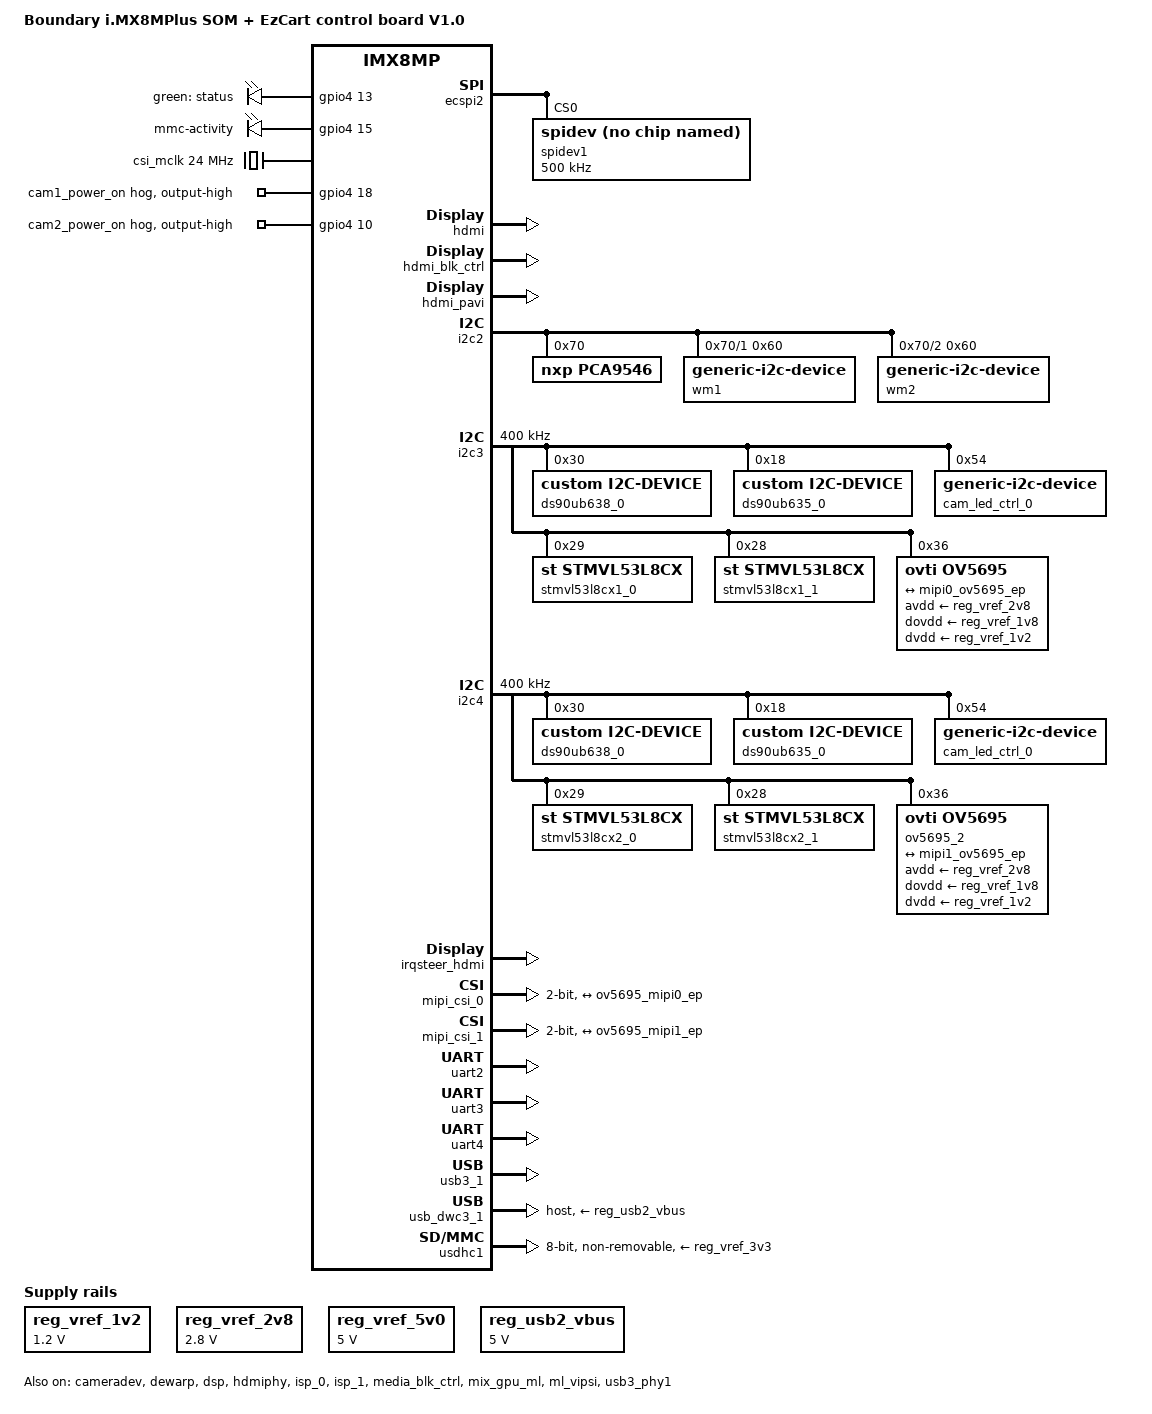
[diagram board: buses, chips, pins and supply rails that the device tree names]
// SPDX-License-Identifier: (GPL-2.0+ OR MIT)
/*
 * Device Tree file for Boundary Devices Nitrogen8MP SOM
 * installed on Cartzy Control Board V2.0 (EzCart V1.0)
 *
 * @author Nikita Bulaev agency@grovety.com
 */

/dts-v1/;

#include <dt-bindings/interconnect/ti,ds90ub635.h>
#include <dt-bindings/interconnect/ti,ds90ub638.h>

#include <dt-bindings/phy/phy-imx8-pcie.h>
#include <dt-bindings/usb/pd.h>
#include "imx8mp-nitrogen8mp-som.dtsi"

&iomuxc {
	pinctrl-names = "default";
	pinctrl-0 = <&pinctrl_hog>;

	pinctrl_gpio_led: gpioledgrp {
		fsl,pins = <
		/* These pins controled by gpio-leds */
		MX8MP_IOMUXC_SAI1_TXD1__GPIO4_IO13    0x140 /* GREEN CPU LED1 */
		MX8MP_IOMUXC_SAI1_TXD3__GPIO4_IO15	  0x140 /* RED CPU LED3 */

		/* These pins controled by gpio-keys */
#define GP_CPU_LED_BLUE	<&gpio4 14 GPIO_ACTIVE_HIGH>
		MX8MP_IOMUXC_SAI1_TXD2__GPIO4_IO14	  0x100 /* Blue CPU LED2 */
		>;
	};

	pinctrl_ecspi2: ecspi2grp {
		fsl,pins = <
			/* J31 */
			MX8MP_IOMUXC_ECSPI2_SCLK__ECSPI2_SCLK		0x82	/* Pin 20 */
			MX8MP_IOMUXC_ECSPI2_MOSI__ECSPI2_MOSI		0x82	/* Pin 10 */
			MX8MP_IOMUXC_ECSPI2_MISO__ECSPI2_MISO		0x82	/* Pin 8 */
#define GP_ECSPI2_CS	<&gpio5 13 GPIO_ACTIVE_LOW>
			MX8MP_IOMUXC_ECSPI2_SS0__GPIO5_IO13		0x143	/* Pin 6 */
		>;
	};

	pinctrl_hog: hoggrp {
		fsl,pins = <
			MX8MP_IOMUXC_HDMI_DDC_SCL__HDMIMIX_HDMI_SCL	0x400001c3
			MX8MP_IOMUXC_HDMI_DDC_SDA__HDMIMIX_HDMI_SDA	0x400001c3
			MX8MP_IOMUXC_HDMI_HPD__HDMIMIX_HDMI_HPD		0x40000019
			MX8MP_IOMUXC_HDMI_CEC__HDMIMIX_HDMI_CEC		0x40000019
			MX8MP_IOMUXC_NAND_DATA01__GPIO3_IO07		0x119
			/* J31 */
			MX8MP_IOMUXC_SPDIF_RX__GPIO5_IO04		0x41	/* Pin 17 */
			MX8MP_IOMUXC_SPDIF_EXT_CLK__GPIO5_IO05	0x41	/* Pin 19 */
			MX8MP_IOMUXC_SPDIF_TX__GPIO5_IO03		0x41	/* Pin 21 */
			MX8MP_IOMUXC_SAI1_MCLK__GPIO4_IO20		0x16	/* Pin 2 */
			/*MX8MP_IOMUXC_SAI1_TXD7__GPIO4_IO19		0x1c4*/	/* Pin 4 */

#define WM_RESET_CTRL	<&gpio4 16 GPIO_ACTIVE_HIGH>
			MX8MP_IOMUXC_SAI1_TXD4__GPIO4_IO16	0x100

#define CAM1_POWER_ON	<&gpio4 18 GPIO_ACTIVE_HIGH>
			MX8MP_IOMUXC_SAI1_TXD6__GPIO4_IO18	0x106

#define CAM2_POWER_ON	<&gpio4 10 GPIO_ACTIVE_HIGH>
			MX8MP_IOMUXC_SAI1_TXFS__GPIO4_IO10	0x106
		>;
	};

/*	pinctrl_i2c2_pca9546: i2c2-pca9546grp {
		fsl,pins = <
#define GP_PCA9546_RESET	<&gpio1 5 GPIO_ACTIVE_LOW>
			MX8MP_IOMUXC_GPIO1_IO05__GPIO1_IO05        	0x100
		>;
	};*/

/*	pinctrl_i2c2d_rv3028: i2c2d-rv3028grp {
		fsl,pins = <
#define GPIRQ_RV3028		<&gpio1 4 IRQ_TYPE_LEVEL_LOW>
			MX8MP_IOMUXC_GPIO1_IO04__GPIO1_IO04		0x1c0
		>;
	};*/

	pinctrl_pdm: pdmgrp {
		fsl,pins = <
			MX8MP_IOMUXC_SAI1_RXC__AUDIOMIX_PDM_CLK			0xd6
			MX8MP_IOMUXC_SAI3_RXFS__AUDIOMIX_PDM_BIT_STREAM00	0xd6
		>;
	};

	pinctrl_pwm4: pwm4grp {
		fsl,pins = <
			/* J31, pin 36 */
			MX8MP_IOMUXC_SAI5_RXFS__PWM4_OUT	0x116
		>;
	};

	pinctrl_usb2: usb2-pins {
		fsl,pins = <
		/* Output, PullUP */
#define USB2_PWR_EN	<&gpio1 9 GPIO_ACTIVE_HIGH> /* USB2_PWR_EN */
			MX8MP_IOMUXC_GPIO1_IO09__GPIO1_IO09	0x106

		/* Input, PULLED UP by resitor, trigger on falling */
#define USB2_FAULT	<&gpio4 19 IRQ_TYPE_LEVEL_LOW> /* USB2_FAULT (input) */
		MX8MP_IOMUXC_SAI1_TXD7__GPIO4_IO19 0x006
		>;
	};

	pinctrl_uart2: uart2grp {
		fsl,pins = <
			MX8MP_IOMUXC_UART2_RXD__UART2_DCE_RX	0x140
			MX8MP_IOMUXC_UART2_TXD__UART2_DCE_TX	0x140
		>;
	};

	pinctrl_uart3: uart3grp {
		fsl,pins = <
			MX8MP_IOMUXC_ECSPI1_SCLK__UART3_DCE_RX	0x140
			MX8MP_IOMUXC_ECSPI1_MOSI__UART3_DCE_TX	0x140
		>;
	};

	pinctrl_uart4: uart4grp {
		fsl,pins = <
			MX8MP_IOMUXC_UART4_RXD__UART4_DCE_RX	0x140
			MX8MP_IOMUXC_UART4_TXD__UART4_DCE_TX	0x140
		>;
	};

	pinctrl_usdhc1: usdhc1grp {
		fsl,pins = <
		MX8MP_IOMUXC_SD1_CLK__USDHC1_CLK    0x190
		MX8MP_IOMUXC_SD1_CMD__USDHC1_CMD    0x1d0
		MX8MP_IOMUXC_SD1_DATA0__USDHC1_DATA0    0x1d0
		MX8MP_IOMUXC_SD1_DATA1__USDHC1_DATA1    0x1d0
		MX8MP_IOMUXC_SD1_DATA2__USDHC1_DATA2    0x1d0
		MX8MP_IOMUXC_SD1_DATA3__USDHC1_DATA3    0x1d0
		MX8MP_IOMUXC_SD1_DATA4__USDHC1_DATA4    0x1d0
		MX8MP_IOMUXC_SD1_DATA5__USDHC1_DATA5    0x1d0
		MX8MP_IOMUXC_SD1_DATA6__USDHC1_DATA6    0x1d0
		MX8MP_IOMUXC_SD1_DATA7__USDHC1_DATA7    0x1d0
		/*MX8MP_IOMUXC_GPIO1_IO03__USDHC1_VSELECT    0x116*/
		MX8MP_IOMUXC_SD1_STROBE__USDHC1_STROBE    0x10
		MX8MP_IOMUXC_SD1_RESET_B__USDHC1_RESET_B 0x140
		>;
	};

	pinctrl_usdhc1_100mhz: usdhc1grp-100mhz {
		fsl,pins = <
		MX8MP_IOMUXC_SD1_CLK__USDHC1_CLK    0x194
		MX8MP_IOMUXC_SD1_CMD__USDHC1_CMD    0x1d4
		MX8MP_IOMUXC_SD1_DATA0__USDHC1_DATA0    0x1d4
		MX8MP_IOMUXC_SD1_DATA1__USDHC1_DATA1    0x1d4
		MX8MP_IOMUXC_SD1_DATA2__USDHC1_DATA2    0x1d4
		MX8MP_IOMUXC_SD1_DATA3__USDHC1_DATA3    0x1d4
		MX8MP_IOMUXC_SD1_DATA4__USDHC1_DATA4    0x1d4
		MX8MP_IOMUXC_SD1_DATA5__USDHC1_DATA5    0x1d4
		MX8MP_IOMUXC_SD1_DATA6__USDHC1_DATA6    0x1d4
		MX8MP_IOMUXC_SD1_DATA7__USDHC1_DATA7    0x1d4
		MX8MP_IOMUXC_SD1_STROBE__USDHC1_STROBE  0x14
		>;
	};

	pinctrl_usdhc1_200mhz: usdhc1grp-200mhz {
		fsl,pins = <
		MX8MP_IOMUXC_SD1_CLK__USDHC1_CLK    0x196
		MX8MP_IOMUXC_SD1_CMD__USDHC1_CMD    0x1d6
		MX8MP_IOMUXC_SD1_DATA0__USDHC1_DATA0    0x1d6
		MX8MP_IOMUXC_SD1_DATA1__USDHC1_DATA1    0x1d6
		MX8MP_IOMUXC_SD1_DATA2__USDHC1_DATA2    0x1d6
		MX8MP_IOMUXC_SD1_DATA3__USDHC1_DATA3    0x1d6
		MX8MP_IOMUXC_SD1_DATA4__USDHC1_DATA4    0x1d6
		MX8MP_IOMUXC_SD1_DATA5__USDHC1_DATA5    0x1d6
		MX8MP_IOMUXC_SD1_DATA6__USDHC1_DATA6    0x1d6
		MX8MP_IOMUXC_SD1_DATA7__USDHC1_DATA7    0x1d6
		MX8MP_IOMUXC_SD1_STROBE__USDHC1_STROBE  0x12
		>;
	};

	/* NO GPIO pins for camera #1 */
	/*pinctrl_i2c3_ov5695_mipi: i2c3-ov5695-mipigrp {
		fsl,pins = <

		>;
	};*/

	/* No GPIO pins for camera #2 */
	/*pinctrl_i2c4_ov5695_mipi: i2c4-ov5695-mipigrp {
		fsl,pins = <

		>;
	};	*/

	pinctrl_ds90ub638_1: ds90ub638_grp_1 {
		fsl,pins = <
#define DS90UB638_1_LOCK    <&gpio1 15 IRQ_TYPE_LEVEL_HIGH>
		MX8MP_IOMUXC_GPIO1_IO15__GPIO1_IO15    0x106

#define DS90UB638_1_PASS    <&gpio1 11 IRQ_TYPE_LEVEL_HIGH>
		MX8MP_IOMUXC_GPIO1_IO11__GPIO1_IO11    0x106
		>;
	};

	pinctrl_ds90ub638_2: ds90ub638_grp_2 {
		fsl,pins = <
#define DS90UB638_2_LOCK    <&gpio1 1 IRQ_TYPE_LEVEL_HIGH>
		MX8MP_IOMUXC_GPIO1_IO01__GPIO1_IO01    0x106

#define DS90UB638_2_PASS    <&gpio1 12 IRQ_TYPE_LEVEL_HIGH>
		MX8MP_IOMUXC_GPIO1_IO12__GPIO1_IO12    0x106
		>;
	};

	pinctrl_i2c3_tof: i2c3_tofgrp {
		fsl,pins = <
		/* TOF 1/2 INT - Input, trigger on falling GPIO0 */
#define GP_TOF_INT1_2	<&gpio1 4 IRQ_TYPE_LEVEL_LOW>
		MX8MP_IOMUXC_GPIO1_IO04__GPIO1_IO04	0x166

		/* TOF 1 SYNC GPIO1 */
#define GP_TOF_SYNC1	<&gpio1 10 GPIO_ACTIVE_HIGH>
		MX8MP_IOMUXC_GPIO1_IO10__GPIO1_IO10	0x116

		/* TOF 1 RESET GPIO2 */
#define GP_TOF_RESET1  <&gpio1 13 GPIO_ACTIVE_HIGH>
		MX8MP_IOMUXC_GPIO1_IO13__GPIO1_IO13	0x106
		>;
	};

	pinctrl_i2c4_tof: i2c4_tofgrp {
		fsl,pins = <
		/* TOF 3/4 INT - Input, trigger on falling GPIO0 */
#define GP_TOF_INT3_4	<&gpio1 5 IRQ_TYPE_LEVEL_LOW>
		MX8MP_IOMUXC_GPIO1_IO05__GPIO1_IO05	0x166

		/* TOF 3 SYNC GPIO1 */
#define GP_TOF_SYNC3	<&gpio1 6 GPIO_ACTIVE_HIGH>
		MX8MP_IOMUXC_GPIO1_IO06__GPIO1_IO06	0x116

		/* TOF 3 RESET GPIO2 */
#define GP_TOF_RESET3	<&gpio1 8 GPIO_ACTIVE_HIGH>
		MX8MP_IOMUXC_GPIO1_IO08__GPIO1_IO08	0x106
		>;
	};

	/* GPIOS P2 header */
	pinctrl_gpios_p2: gpios_p2grp {
		/* All pins are set to OUTPUT Pull-Down */
		fsl,pins = <
#define GPIOS_P2_PIN1 <&gpio4 27 GPIO_ACTIVE_HIGH>
		MX8MP_IOMUXC_SAI2_MCLK__GPIO4_IO27 0x106

#define GPIOS_P2_PIN2 <&gpio4 22 GPIO_ACTIVE_HIGH>
		MX8MP_IOMUXC_SAI2_RXC__GPIO4_IO22 0x106

#define GPIOS_P2_PIN3 <&gpio4 23 GPIO_ACTIVE_HIGH>
		MX8MP_IOMUXC_SAI2_RXD0__GPIO4_IO23 0x106

#define GPIOS_P2_PIN4 <&gpio4 26 GPIO_ACTIVE_HIGH>
		MX8MP_IOMUXC_SAI2_TXD0__GPIO4_IO26 0x106

#define GPIOS_P2_PIN5 <&gpio4 25 GPIO_ACTIVE_HIGH>
		MX8MP_IOMUXC_SAI2_TXC__GPIO4_IO25 0x106

#define GPIOS_P2_PIN6 <&gpio4 21 GPIO_ACTIVE_HIGH>
		MX8MP_IOMUXC_SAI2_RXFS__GPIO4_IO21 0x106

#define GPIOS_P2_PIN7 <&gpio4 28 GPIO_ACTIVE_HIGH>
		MX8MP_IOMUXC_SAI3_RXFS__GPIO4_IO28 0x106

#define GPIOS_P2_PIN8 <&gpio4 24 GPIO_ACTIVE_HIGH>
		MX8MP_IOMUXC_SAI2_TXFS__GPIO4_IO24 0x106
		>;
	};
};

&pinctrl_i2c3_tof {
	/* TOF 2 SYNC GPIO3 */
	tof_sync2_open_drain: tof_sync2_open_drain {
		fsl,pins = <
#define GP_TOF_SYNC2    <&gpio1 7 (GPIO_ACTIVE_HIGH | GPIO_OPEN_DRAIN)>
		MX8MP_IOMUXC_GPIO1_IO07__GPIO1_IO07    0x030 /* OpenDrain output */
		>;
        drive-open-source; /* Also force open source */
    };
};

&pinctrl_i2c4_tof {
	/* TOF 4 SYNC GPIO3 */
	tof_sync4_open_drain: tof_sync4_open_drain {
		fsl,pins = <
#define GP_TOF_SYNC4    <&gpio1 14 (GPIO_ACTIVE_HIGH | GPIO_OPEN_DRAIN)>
		MX8MP_IOMUXC_GPIO1_IO14__GPIO1_IO14    0x030 /* OpenDrain output */
		>;
		drive-open-source; /* Also force open source */
	};
};

/ {
	model = "Boundary i.MX8MPlus SOM + EzCart control board V1.0";
	compatible = "fsl,imx8mp-custom-board", "boundary,imx8mp-nitrogen8mp", "fsl,imx8mp";

	aliases {
		// fb_hdmi = &lcdif3;
		// lcdif = &lcdif1;
		// fb_mipi = &fb_mipi;
		// ts_ft5x06 = &ts_ft5x06;
	};

	chosen {
		stdout-path = &uart2;
	};

	gpio-leds {
		compatible = "gpio-leds";
		pinctrl-names = "default";
		pinctrl-0 = <&pinctrl_gpio_led>;

		status {
			label = "green: status";
			gpios = <&gpio4 13 GPIO_ACTIVE_HIGH>;
			default-state = "on";
			linux,default-trigger = "heartbeat";
		};

		activity_led {
			label = "mmc-activity";
			gpios = <&gpio4 15 GPIO_ACTIVE_HIGH>;
			linux,default-trigger = "mmc2";
		};
	};

	gpio_keys: gpio-keys {
		compatible = "gpio-keys";
		pinctrl-names = "default";
	};

	sound_hdmi: sound-hdmi {
		compatible = "fsl,imx-audio-hdmi";
		model = "audio-hdmi";
		audio-cpu = <&aud2htx>;
		hdmi-out;
		constraint-rate = <44100>,
				<88200>,
				<176400>,
				<32000>,
				<48000>,
				<96000>,
				<192000>;
		status = "disabled";
	};

	sound-wm8960 {
		status = "disabled";
	};

	csi_mclk: csi-mclk {
		compatible = "fixed-clock";
		#clock-cells = <0>;
		clock-frequency = <24000000>;
		clock-output-names = "csi_mclk";
		status = "okay";
	};

	reg_vref_1v2: regulator-vref-1v2 {
		compatible = "regulator-fixed";
		regulator-name = "vref-1v2";
		regulator-min-microvolt = <1200000>;
		regulator-max-microvolt = <1200000>;
	};

	reg_vref_2v8: regulator-vref-2v8 {
		compatible = "regulator-fixed";
		regulator-name = "vref-2v8";
		regulator-min-microvolt = <2800000>;
		regulator-max-microvolt = <2800000>;
	};

	reg_vref_5v0: regulator-vref-5v0 {
		compatible = "regulator-fixed";
		regulator-name = "vref-5v0";
		regulator-min-microvolt = <5000000>;
		regulator-max-microvolt = <5000000>;
	};

	reg_usb2_vbus: regulator-usb2-vbus {
		compatible = "regulator-fixed";
		regulator-name = "usb2_vbus";
		regulator-min-microvolt = <5000000>;
		regulator-max-microvolt = <5000000>;
		gpio = USB2_PWR_EN;
		enable-active-high;
	};

	// reg_disp_bridge: reg_disp_bridge {
	// 	#address-cells = <1>;
	// 	#size-cells = <0>;

	// 	compatible = "regulator-fixed";
	// 	regulator-name = "bridge_reg";
	// 	gpio = <&reg_display 0 0>;
	// 	vin-supply = <&reg_display>;
	// 	enable-active-high;
	// };
};

&aud2htx {
	status = "disabled";
};

&cameradev {
	status = "okay";
};

&isi_0 {
	status = "disabled";

	m2m_device {
		status = "disabled";
	};
};

&isi_1 {
	status = "disabled";
};

&dewarp {
	status = "okay";
};

&dsp {
	status = "okay";
};

&easrc {
	status = "disabled";
};

&ecspi2 {
	#address-cells = <1>;
	#size-cells = <0>;
	fsl,spi-num-chipselects = <1>;
	pinctrl-names = "default";
	pinctrl-0 = <&pinctrl_ecspi2>;
	cs-gpios = GP_ECSPI2_CS;
	status = "okay";

	spidev1: spi@0 {
		compatible = "spidev";
		reg = <0>;
		spi-max-frequency = <500000>;
	};
};

&fec {
	status = "disabled";
};

&eqos {
	status = "disabled";
};

&flexcan1 {
	status = "disabled";
};

&flexcan2 {
	status = "disabled";
};

&hdmi {
	status = "okay";
};

&hdmiphy {
	status = "okay";
};

&hdmi_blk_ctrl {
	status = "okay";
};

&hdmi_pavi {
	status = "okay";
};

&gpio1 {
	gpio-line-names = "",            "CAM2.LOCK",   "WDOG",       "",           /* 0-3 */
					  "TOF.1-2.INT", "TOF.3-4.INT", "TOF.3.SYNC", "TOF.2.SYNC", /* 4-7 */
					  "TOF.3.RES",   "USB2.PWR.EN", "TOF.1.SYNC", "CAM1.PASS",  /* 8-11 */
					  "CAM2.PASS",   "TOF.1.RES",   "TOF.4.SYNC", "CAM1.LOCK",  /* 12-15 */
					  "",            "",            "",           "",           /* 16-19 */
					  "",            "",            "",           "",           /* 20-23 */
					  "",            "",            "",           "",           /* 24-27 */
					  "",            "",            "",           "",           /* 28-31 */
					  "",            "",            "",           "";           /* 32-35 */
};

&gpio3 {
	gpio-line-names = "",         "",         "",             "",             /* 0-3 */
					  "",         "",         "",             "",             /* 4-7 */
					  "",         "",         "",             "",             /* 8-11 */
					  "",         "",         "",             "",             /* 12-15 */
					  "",         "",         "",             "",             /* 16-19 */
					  "",         "",         "",             "",             /* 20-23 */
					  "",         "",         "HDMI.DDC.SCL", "HDMI.DDC.SDA", /* 24-27 */
					  "HDMI.CEC", "HDMI.HPD", "",             "",             /* 28-31 */
					  "",         "",         "",             "";             /* 32-35 */
};

&gpio4 {
	gpio-line-names = "",          "",              "",             "",            /* 0-3 */
					  "",          "",              "",             "",            /* 4-7 */
					  "",          "",              "CAM2.PWR.ON",  "",            /* 8-11 */
					  "BAT.RESET", "CPU.LED.GREEN", "CPU.LED.BLUE", "CPU.LED.RED", /* 12-15 */
					  "WM.RESET",  "WM.INT",        "CAM1.PWR.ON",  "USB2.FAULT",  /* 16-19 */
					  "",          "P2.PIN6",       "P2.PIN2",      "P2.PIN3",     /* 20-23 */
					  "P2.PIN8",   "P2.PIN5",       "P2.PIN4",      "P2.PIN1",     /* 24-27 */
					  "P2.PIN7",   "",              "",             "",            /* 28-31 */
					  "",          "",              "",             "";            /* 32-35 */

	cam1_power_on {
		gpio-hog;
		gpios = <18 GPIO_ACTIVE_HIGH>;
		output-high;
		line-name = "cam1_power_on";
	};

	cam2_power_on {
		gpio-hog;
		gpios = <10 GPIO_ACTIVE_HIGH>;
		output-high;
		line-name = "cam2_power_on";
	};
};

&gpio5 {
	gpio-line-names = "",          "",         "",          "",          /* 0-3 */
					  "",          "",         "UART3.RX",  "UART3.TX",  /* 4-7 */
					  "",          "",         "SPI2.SCLK", "SPI2.MOSI", /* 8-11 */
					  "SPI2.MISO", "SPI2.CS0", "I2C1.SCL",  "I2C1.SDA",  /* 12-15 */
					  "I2C2.SCL",  "I2C2.SDA", "I2C3.SCL",  "I2C3.SDA",  /* 16-19 */
					  "I2C4.SCL",  "I2C4.SDA", "",          "",          /* 20-23 */
					  "UART2.RX",  "UART2.TX", "",          "",          /* 24-27 */
					  "UART4.RX",  "UART4.TX", "",          "",          /* 28-31 */
					  "",          "",         "",          "";          /* 32-35 */
};

&i2c2 {
	pca9546: i2cmux9546@70 {
		// pinctrl-names = "default";
		// pinctrl-0 = <&pinctrl_i2c2_pca9546>;
		compatible = "nxp,pca9546";
		reg = <0x70>;
		// reset-gpios = GP_PCA9546_RESET;
		#address-cells = <1>;
		#size-cells = <0>;

		i2c2a: i2c2@0 {
			clock-frequency = <100000>;
			reg = <0>;
			#address-cells = <1>;
			#size-cells = <0>;

			/* Battery module I2C */
		};

		i2c2b: i2c2@1 {
			clock-frequency = <100000>;
			reg = <1>;
			#address-cells = <1>;
			#size-cells = <0>;

			/* Weight module #1 I2C  */
			wm1@60 {
				compatible = "generic-i2c-device";
				reg = <0x60>;
			};
		};

		i2c2c: i2c2@2 {
			clock-frequency = <100000>;
			reg = <2>;
			#address-cells = <1>;
			#size-cells = <0>;

			/* Weight module #2 I2C  */
			wm2@60 {
				compatible = "generic-i2c-device";
				reg = <0x60>;
			};
		};

		i2c2d: i2c2@3 {
			clock-frequency = <100000>;
			reg = <3>;
			#address-cells = <1>;
			#size-cells = <0>;
		};
	};
};

&i2c2a {
	status = "disabled";
};

&i2c2b {
	status = "okay";
};

&i2c2c {
	status = "okay";
};

&i2c2d {
	status = "okay";
};

&i2c3 {
	status = "okay";
	clock-frequency = <400000>;
	pinctrl-names = "default";

	/* DS90UB638 deserializer */
	ds90ub638_0@30 {
		compatible = "custom,i2c-device";
		reg = <0x30>;
		#address-cells = <1>;
		#size-cells = <0>;

		pinctrl-0 = <&pinctrl_ds90ub638_1>;

		init-regs {
			reg@0 {
				address = <TI_DS90UB638_RX_PORT_CTL_REG>;
				mask = <TI_DS90UB638_RX_PORT_CTL_STARTUP_BIT_MASK>;
				value = <TI_DS90UB638_RX_PORT_CTL_STARTUP_BIT_SET>;
				operation = "setbits";
			};
			reg@1 {
				address = <TI_DS90UB638_FWD_CTL2_REG>;
				mask = <TI_DS90UB638_FWD_CTL2_FWD_SYNC_AS_AVAIL_MASK>;
				value = <TI_DS90UB638_FWD_CTL2_FWD_SYNC_AS_AVAIL>;
				operation = "setbits";
			};
			reg@2 {
				address = <TI_DS90UB638_GENERAL_CFG_REG>;
				value = <(TI_DS90UB638_GENERAL_CFG_I2C_CONTROLLER_ENABLE |
				TI_DS90UB638_GENERAL_CFG_OUTPUT_EN_MODE |
				TI_DS90UB638_GENERAL_CFG_OUTPUT_ENABLE |
				TI_DS90UB638_GENERAL_CFG_OUTPUT_SLEEP_STATE_SELECT |
				TI_DS90UB638_GENERAL_CFG_RX_PARITY_CHECKER_ENABLE)>;
				operation = "overwrite";
			};
			reg@3 {
				address = <TI_DS90UB638_FPD3_PORT_SEL_REG>;
				value = <TI_DS90UB638_FPD3_PORT_SEL_RX_WRITE_PORT_0_EN>;
				operation = "overwrite";
			};
			reg@4 {
				address = <TI_DS90UB638_BCC_CONFIG_REG>;
				value = <(TI_DS90UB638_BCC_CONFIG_I2C_PASS_THROUGH_ALL_EN |
				TI_DS90UB638_BCC_CONFIG_BC_ALWAYS_ON_EN |
				TI_DS90UB638_BCC_CONFIG_BC_CRC_GENERATOR_ENABLE_EN|
				TI_DS90UB638_BCC_CONFIG_BC_FREQ_SELECT_50MBPS)>;
				operation = "overwrite";
			};
			reg@5 {
				address = <TI_DS90UB638_FWD_CTL1_REG>;
				mask = <TI_DS90UB638_FWD_CTL1_FWD_PORT0_MASK>;
				value = <TI_DS90UB638_FWD_CTL1_FWD_PORT0_EN>;
				operation = "setbits";
			};
			reg@6 {
				// Turn on GPIOs transfer
				address = <TI_DS90UB638_DATAPATH_CTL1_REG>;
				value = <TI_DS90UB638_DATAPATH_CTL1_FC_GPIO_EN_FOUR>;
				operation = "overwrite";
			};
			reg@7 {
				// GPIO1/2/3 - Inputs, this reg must me set first
				address = <TI_DS90UB638_GPIO_INPUT_CTL_REG>;
				value = <(TI_DS90UB638_GPIO_INPUT_CTL_GPIO1_EN |
				TI_DS90UB638_GPIO_INPUT_CTL_GPIO2_EN |
				TI_DS90UB638_GPIO_INPUT_CTL_GPIO3_EN)>;
				operation = "overwrite";
			};
			reg@8 {
				// GPIO0 - Output (ToF INTR)
				address = <TI_DS90UB638_GPIO0_PIN_CTL_REG>;
				value = <TI_DS90UB638_GPIOx_PIN_CTL_OUT_EN>;
				operation = "overwrite";
			};
			reg@10 {
				// GPIO1 - Input (ToF1/2 SYNC)
				address = <TI_DS90UB638_GPIO1_PIN_CTL_REG>;
				value = <TI_DS90UB638_GPIOx_PIN_CTL_OUT_DISABLE>;
				operation = "overwrite";
			};
			reg@11 {
				// GPIO2 - Input (ToF/Camera RESET)
				address = <TI_DS90UB638_GPIO2_PIN_CTL_REG>;
				value = <TI_DS90UB638_GPIOx_PIN_CTL_OUT_DISABLE>;
				operation = "overwrite";
			};
			reg@12 {
				// GPIO3 - Input (ToF3/4 SYNC)
				address = <TI_DS90UB638_GPIO3_PIN_CTL_REG>;
				value = <TI_DS90UB638_GPIOx_PIN_CTL_OUT_DISABLE>;
				operation = "overwrite";
			};
			reg@13 {
				// GPIO1 - data sent on GPIO1 for the port back channel. GPIO0 - DOWN
				address = <TI_DS90UB638_BC_GPIO_CTL0_REG>;
				value = <(TI_DS90UB638_BC_GPIO_GPIO1_SEL_GPIO1 | TI_DS90UB638_BC_GPIO_GPIO0_SEL_VAL0)>;
				operation = "overwrite";
			};
			reg@14 {
				// GPIO3 - data sent on GPIO3 for the port back channel, GPIO2 DOWN.
				address = <TI_DS90UB638_BC_GPIO_CTL1_REG>;
				value = <(TI_DS90UB638_BC_GPIO_GPIO3_SEL_GPIO3 | TI_DS90UB638_BC_GPIO_GPIO2_SEL_VAL0)>;
				operation = "overwrite";
			};
			reg@15 {
				// Turn on CSI and setup 2-lanes
				address = <TI_DS90UB638_CSI_CTL_REG>;
				value = <(TI_DS90UB638_CSI_CTL_CSI_LANE_COUNT_2 | TI_DS90UB638_CSI_CTL_CSI_EN)>;
				operation = "overwrite";
			};
		};
	};

	/* DS90UB635 serializer */
	ds90ub635_0@18 {
		compatible = "custom,i2c-device";
		reg = <0x18>;
		#address-cells = <1>;
		#size-cells = <0>;

		// Wait for ready flag from deserializer
		ready-flag-wait = "/sys/bus/i2c/devices/2-0030/ready_flag";

		init-regs {
			reg@0 {
				address = <TI_DS90UB635_GENERAL_CFG_REG>;
				value = <(TI_DS90UB635_GENERAL_CFG_CSI_SEL_2_LANE |
				TI_DS90UB635_GENERAL_CFG_CRC_TX_GEN_ENABLE |
				TI_DS90UB635_GENERAL_CFG_I2C_STRAP_MODE_1V8)>;
				operation = "overwrite";
			};
			reg@1 {
				// GPIO0 - Inputs (ToFs INTR), GPIO1/2/3 - Output (ToF1 SYNC, ToF/Camera RESET, ToF2 SYNC)
				address = <TI_DS90UB635_GPIO_INPUT_CTRL_REG>;
				value = <(TI_DS90UB635_GPIO_INPUT_CTRL_GPIO0_IN_EN |
				TI_DS90UB635_GPIO_INPUT_CTRL_GPIO1_OUT_EN |
				TI_DS90UB635_GPIO_INPUT_CTRL_GPIO2_OUT_EN |
				TI_DS90UB635_GPIO_INPUT_CTRL_GPIO3_OUT_EN)>;
				operation = "overwrite";
			};
			reg@2 {
				// Turn on GPIOs transfer
				address = <TI_DS90UB635_DATAPATH_CTL1_REG>;
				value = <(TI_DS90UB635_DATAPATH_CTL1_DCA_CRC_EN | TI_DS90UB635_DATAPATH_CTL1_FC_GPIO_EN_ONE)>;
				operation = "overwrite";
			};
		};
	};

	/* Camera led control */
	cam_led_ctrl_0@54 {
		compatible = "generic-i2c-device";
		reg = <0x54>;
	};

	/* Tof sensor #1 */
	stmvl53l8cx1_0: stmvl53l8cx_0@29 {
		compatible = "st,stmvl53l8cx";
		reg = <0x29>;
		dev-name = "stmvl53l8cx_1";
		pinctrl-0 = <&pinctrl_i2c3_tof>;
		sync-gpios = GP_TOF_SYNC1;
		sync-drive = "push-pull";
		status = "okay";
	};

	/* Tof sensor #2 */
	stmvl53l8cx1_1: stmvl53l8cx_1@28 {
		compatible = "st,stmvl53l8cx";
		reg = <0x28>;
		dev-name = "stmvl53l8cx_2";
		pinctrl-0 = <&pinctrl_i2c3_tof>;
		sync-gpios = GP_TOF_SYNC2;
		sync-drive = "open-drain";
		status = "okay";
	};

	ov5695: ov5695_mipi0@36 {
		avdd-supply = <&reg_vref_2v8>;
		dovdd-supply = <&reg_vref_1v8>;
		dvdd-supply = <&reg_vref_1v2>;
		clocks = <&csi_mclk>;
		clock-names = "xvclk";
		compatible = "ovti,ov5695", "ov5695";
		/*pinctrl-names = "default";*/
		/*pinctrl-0 = <&pinctrl_i2c3_ov5695_mipi>;*/ // No GPIO pins for camera
		reg = <0x36>;
		csi_id = <0>;
		/*reset-gpios = GP_OV5695_MIPI0_RESET;*/ // Used for ToF I2C block
		status = "okay";

		port {
			ov5695_mipi0_ep: endpoint {
				clock-lanes = <0>;
				data-lanes = <1 2>;
				remote-endpoint = <&mipi0_ov5695_ep>;
				link-frequencies = /bits/ 64 <800000000>;

				max-lane-frequency = /bits/ 64 <800000000>;
				max-pixel-frequency = /bits/ 64 <266000000>;
			};
		};
	};
};

&i2c4 {
	status = "okay";
	clock-frequency = <400000>;
	pinctrl-names = "default";

	/* DS90UB638 deserializer */
	ds90ub638_0@30 {
		compatible = "custom,i2c-device";
		reg = <0x30>;
		#address-cells = <1>;
		#size-cells = <0>;

		pinctrl-0 = <&pinctrl_ds90ub638_2>;

		init-regs {
			reg@0 {
				address = <TI_DS90UB638_RX_PORT_CTL_REG>;
				mask = <TI_DS90UB638_RX_PORT_CTL_STARTUP_BIT_MASK>;
				value = <TI_DS90UB638_RX_PORT_CTL_STARTUP_BIT_SET>;
				operation = "setbits";
			};
			reg@1 {
				address = <TI_DS90UB638_FWD_CTL2_REG>;
				mask = <TI_DS90UB638_FWD_CTL2_FWD_SYNC_AS_AVAIL_MASK>;
				value = <TI_DS90UB638_FWD_CTL2_FWD_SYNC_AS_AVAIL>;
				operation = "setbits";
			};
			reg@2 {
				address = <TI_DS90UB638_GENERAL_CFG_REG>;
				value = <(TI_DS90UB638_GENERAL_CFG_I2C_CONTROLLER_ENABLE |
				TI_DS90UB638_GENERAL_CFG_OUTPUT_EN_MODE |
				TI_DS90UB638_GENERAL_CFG_OUTPUT_ENABLE |
				TI_DS90UB638_GENERAL_CFG_OUTPUT_SLEEP_STATE_SELECT |
				TI_DS90UB638_GENERAL_CFG_RX_PARITY_CHECKER_ENABLE)>;
				operation = "overwrite";
			};
			reg@3 {
				address = <TI_DS90UB638_FPD3_PORT_SEL_REG>;
				value = <TI_DS90UB638_FPD3_PORT_SEL_RX_WRITE_PORT_0_EN>;
				operation = "overwrite";
			};
			reg@4 {
				address = <TI_DS90UB638_BCC_CONFIG_REG>;
				value = <(TI_DS90UB638_BCC_CONFIG_I2C_PASS_THROUGH_ALL_EN |
				TI_DS90UB638_BCC_CONFIG_BC_ALWAYS_ON_EN |
				TI_DS90UB638_BCC_CONFIG_BC_CRC_GENERATOR_ENABLE_EN|
				TI_DS90UB638_BCC_CONFIG_BC_FREQ_SELECT_50MBPS)>;
				operation = "overwrite";
			};
			reg@5 {
				address = <TI_DS90UB638_FWD_CTL1_REG>;
				mask = <TI_DS90UB638_FWD_CTL1_FWD_PORT0_MASK>;
				value = <TI_DS90UB638_FWD_CTL1_FWD_PORT0_EN>;
				operation = "setbits";
			};
			reg@6 {
				// Turn on GPIOs transfer
				address = <TI_DS90UB638_DATAPATH_CTL1_REG>;
				value = <TI_DS90UB638_DATAPATH_CTL1_FC_GPIO_EN_FOUR>;
				operation = "overwrite";
			};
			reg@7 {
				// GPIO1/2/3 - Inputs, this reg must me set first
				address = <TI_DS90UB638_GPIO_INPUT_CTL_REG>;
				value = <(TI_DS90UB638_GPIO_INPUT_CTL_GPIO1_EN |
				TI_DS90UB638_GPIO_INPUT_CTL_GPIO2_EN |
				TI_DS90UB638_GPIO_INPUT_CTL_GPIO3_EN)>;
				operation = "overwrite";
			};
			reg@8 {
				// GPIO0 - Output (ToF INTR)
				address = <TI_DS90UB638_GPIO0_PIN_CTL_REG>;
				value = <TI_DS90UB638_GPIOx_PIN_CTL_OUT_EN>;
				operation = "overwrite";
			};
			reg@10 {
				// GPIO1 - Input (ToF1/2 SYNC)
				address = <TI_DS90UB638_GPIO1_PIN_CTL_REG>;
				value = <TI_DS90UB638_GPIOx_PIN_CTL_OUT_DISABLE>;
				operation = "overwrite";
			};
			reg@11 {
				// GPIO2 - Input (ToF/Camera RESET)
				address = <TI_DS90UB638_GPIO2_PIN_CTL_REG>;
				value = <TI_DS90UB638_GPIOx_PIN_CTL_OUT_DISABLE>;
				operation = "overwrite";
			};
			reg@12 {
				// GPIO3 - Input (ToF3/4 SYNC)
				address = <TI_DS90UB638_GPIO3_PIN_CTL_REG>;
				value = <TI_DS90UB638_GPIOx_PIN_CTL_OUT_DISABLE>;
				operation = "overwrite";
			};
			reg@13 {
				// GPIO1 - data sent on GPIO1 for the port back channel. GPIO0 - DOWN
				address = <TI_DS90UB638_BC_GPIO_CTL0_REG>;
				value = <(TI_DS90UB638_BC_GPIO_GPIO1_SEL_GPIO1 | TI_DS90UB638_BC_GPIO_GPIO0_SEL_VAL0)>;
				operation = "overwrite";
			};
			reg@14 {
				// GPIO3 - data sent on GPIO3 for the port back channel, GPIO2 DOWN.
				address = <TI_DS90UB638_BC_GPIO_CTL1_REG>;
				value = <(TI_DS90UB638_BC_GPIO_GPIO3_SEL_GPIO3 | TI_DS90UB638_BC_GPIO_GPIO2_SEL_VAL0)>;
				operation = "overwrite";
			};
			reg@15 {
				// Turn on CSI and setup 2-lanes
				address = <TI_DS90UB638_CSI_CTL_REG>;
				value = <(TI_DS90UB638_CSI_CTL_CSI_LANE_COUNT_2 | TI_DS90UB638_CSI_CTL_CSI_EN)>;
				operation = "overwrite";
			};
		};
	};

	/* DS90UB635 serializer */
	ds90ub635_0@18 {
		compatible = "custom,i2c-device";
		reg = <0x18>;
		#address-cells = <1>;
		#size-cells = <0>;

		// Wait for ready flag from deserializer
		ready-flag-wait = "/sys/bus/i2c/devices/3-0030/ready_flag";

		init-regs {
			reg@0 {
				address = <TI_DS90UB635_GENERAL_CFG_REG>;
				value = <(TI_DS90UB635_GENERAL_CFG_CSI_SEL_2_LANE |
				TI_DS90UB635_GENERAL_CFG_CRC_TX_GEN_ENABLE |
				TI_DS90UB635_GENERAL_CFG_I2C_STRAP_MODE_1V8)>;
				operation = "overwrite";
			};
			reg@1 {
				// GPIO0 - Inputs (ToFs INTR), GPIO1/2/3 - Output (ToF1 SYNC, ToF/Camera RESET, ToF2 SYNC)
				address = <TI_DS90UB635_GPIO_INPUT_CTRL_REG>;
				value = <(TI_DS90UB635_GPIO_INPUT_CTRL_GPIO0_IN_EN |
				TI_DS90UB635_GPIO_INPUT_CTRL_GPIO1_OUT_EN |
				TI_DS90UB635_GPIO_INPUT_CTRL_GPIO2_OUT_EN |
				TI_DS90UB635_GPIO_INPUT_CTRL_GPIO3_OUT_EN)>;
				operation = "overwrite";
			};
			reg@2 {
				// Turn on GPIOs transfer
				address = <TI_DS90UB635_DATAPATH_CTL1_REG>;
				value = <(TI_DS90UB635_DATAPATH_CTL1_DCA_CRC_EN | TI_DS90UB635_DATAPATH_CTL1_FC_GPIO_EN_ONE)>;
				operation = "overwrite";
			};
		};
	};

	/* Camera led control */
	cam_led_ctrl_0@54 {
		compatible = "generic-i2c-device";
		reg = <0x54>;
	};

	/* Tof sensor #1 */
	stmvl53l8cx2_0: stmvl53l8cx_0@29 {
		compatible = "st,stmvl53l8cx";
		reg = <0x29>;
		dev-name = "stmvl53l8cx_3";
		pinctrl-0 = <&pinctrl_i2c4_tof>;
		sync-gpios = GP_TOF_SYNC3;
		sync-drive = "push-pull";
		status = "okay";
	};

	/* Tof sensor #2 */
	stmvl53l8cx2_1: stmvl53l8cx_1@28 {
		compatible = "st,stmvl53l8cx";
		reg = <0x28>;
		dev-name = "stmvl53l8cx_4";
		pinctrl-0 = <&pinctrl_i2c4_tof>;
		sync-gpios = GP_TOF_SYNC4;
		sync-drive = "open-drain";
		status = "okay";
	};

	ov5695_2: ov5695_mipi1@36 {
		avdd-supply = <&reg_vref_2v8>;
		dovdd-supply = <&reg_vref_1v8>;
		dvdd-supply = <&reg_vref_1v2>;
		clocks = <&csi_mclk>;
		clock-names = "xvclk";
		compatible = "ovti,ov5695", "ov5695";
		reg = <0x36>;
		csi_id = <1>;
		status = "okay";

		port {
			ov5695_mipi1_ep: endpoint {
				clock-lanes = <0>;
				data-lanes = <1 2>;
				remote-endpoint = <&mipi1_ov5695_ep>;
				link-frequencies = /bits/ 64 <800000000>;

				max-lane-frequency = /bits/ 64 <800000000>;
				max-pixel-frequency = /bits/ 64 <266000000>;
			};
		};
	};
};

&irqsteer_hdmi {
	status = "okay";
};

&isp_0 {
	status = "okay";
};

&isp_1 {
	status = "okay";
};

&micfil {
	status = "disabled";
};

&mipi_csi_0 {
	#address-cells = <1>;
	#size-cells = <0>;
	status = "okay";
	clock-frequency = <266000000>;
	assigned-clock-parents = <&clk IMX8MP_SYS_PLL1_266M>;
	assigned-clock-rates = <266000000>;
	bus-width = <2>;

	port@0 {
		reg = <0>;

		mipi0_ov5695_ep: endpoint {
			remote-endpoint = <&ov5695_mipi0_ep>;
			data-lanes = <2>;
			csis-hs-settle = <13>;
			csis-clk-settle = <2>;
			csis-wclk;
		};
	};
};

&mipi_csi_1 {
	#address-cells = <1>;
	#size-cells = <0>;
	status = "okay";
	clock-frequency = <266000000>;
	assigned-clock-parents = <&clk IMX8MP_SYS_PLL1_266M>;
	assigned-clock-rates = <266000000>;
	bus-width = <2>;

	port@1 {
		reg = <1>;

		mipi1_ov5695_ep: endpoint {
			remote-endpoint = <&ov5695_mipi1_ep>;
			data-lanes = <2>;
			csis-hs-settle = <13>;
			csis-clk-settle = <2>;
			csis-wclk;
		};
	};
};

&media_blk_ctrl {
	status = "okay";
};

&mix_gpu_ml {
	status = "okay";
};

&ml_vipsi {
	status = "okay";
};

&pcie {
	status = "disabled";
};

&pcie_phy {
	status = "disabled";
};

&pwm4 {
	pinctrl-names = "default";
	pinctrl-0 = <&pinctrl_pwm4>;
	status = "disabled";
};

&sai3 {
	status = "disabled";
};

&uart2 {
	/* console */
	pinctrl-names = "default";
	pinctrl-0 = <&pinctrl_uart2>;
	status = "okay";
};

&uart3 {
	pinctrl-names = "default";
	pinctrl-0 = <&pinctrl_uart3>;
	assigned-clocks = <&clk IMX8MP_CLK_UART3>;
	assigned-clock-parents = <&clk IMX8MP_SYS_PLL1_80M>;
	status = "okay";
};

&uart4 {
	pinctrl-names = "default";
	pinctrl-0 = <&pinctrl_uart4>;
	assigned-clocks = <&clk IMX8MP_CLK_UART4>;
	assigned-clock-parents = <&clk IMX8MP_SYS_PLL1_80M>;
	status = "okay";
};

/delete-node/ &usb3_0;

&usb3_1 {
	status = "okay";
};

/delete-node/ &usb3_phy0;

&usb3_phy1 {
	fsl,phy-tx-preemp-amp-tune = <2>;
	status = "okay";
	vbus-supply = <&reg_usb2_vbus>;
};

&usb_dwc3_1 {
	dr_mode = "host";
	status = "okay";
	pinctrl-names = "default";
	pinctrl-0 = <&pinctrl_usb2>;
	status = "okay";
	vbus-supply = <&reg_usb2_vbus>;
	usb-role-switch;
};

&usdhc1 {
	status = "okay";
	non-removable;
	bus-width = <8>;
	pinctrl-names = "default", "state_100mhz", "state_200mhz";
	pinctrl-0 = <&pinctrl_usdhc1>;
	pinctrl-1 = <&pinctrl_usdhc1_100mhz>;
	pinctrl-2 = <&pinctrl_usdhc1_200mhz>;
	vmmc-supply = <&reg_vref_3v3>;
	vqmmc-1-8-v;
	vqmmc-supply = <&reg_vref_1v8>;
};

